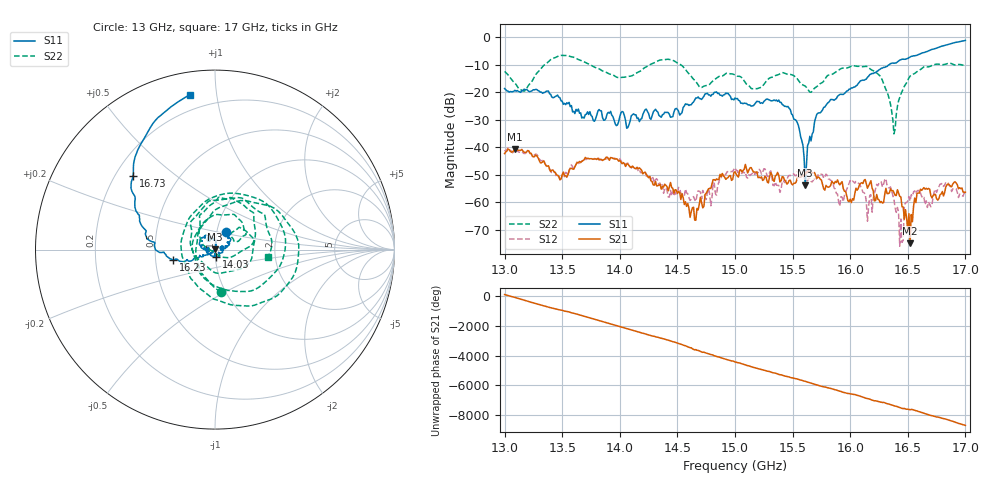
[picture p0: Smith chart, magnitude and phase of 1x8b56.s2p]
!Keysight Technologies,P9374A,MY57211807,A.19.30.04
!Date: Friday, May 08, 2026 14:29:41
!Correction: S11(C  2-Port  )
!S21(C  2-Port  )
!S12(C  2-Port  )
!S22(C  2-Port  )
!S2P File: Measurements: S11, S21, S12, S22:
# Hz S  dB  R 50
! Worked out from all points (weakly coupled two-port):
!   401 points, 13 GHz to 17 GHz, reference 50 ohm
!   highest |S21| = -40.63 dB at 13.09 GHz (marker M1); lowest = -74.9 dB at 16.52 GHz (marker M2)
!   lowest |S11| = -53.8 dB at 15.61 GHz (marker M3), VSWR 1.00, Z = 49.8 + j0.115 ohm
!   |S11| at or under -10 dB: start of sweep to 16.34 GHz
!   |S22| runs from -35.1 to -6.6 dB; largest |S21 - S12| = 0.0016
!   S11 on the Smith chart (normalised r, x): 13 GHz: 1.11, +0.22; 14.03 GHz: 1.01, -0.09; 16.23 GHz: 0.62, -0.07; 16.73 GHz: 0.27, +0.36; 17 GHz: 0.12, +0.84
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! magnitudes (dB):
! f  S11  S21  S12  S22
! 13 GHz  -18.7  -42.3  -41.5  -12.4
! 13.09 GHz  -19.3  -40.6  -40.9  -16.7
! 13.47 GHz  -21.8  -50.5  -50.6  -6.8
! 13.67 GHz  -29.4  -45.2  -45.0  -8.5
! 14.03 GHz  -27.3  -45.6  -45.5  -14.6
! 14.34 GHz  -28.4  -53.8  -53.9  -8.4
! 14.66 GHz  -22.1  -66.5  -59.7  -16.1
! 15 GHz  -22.1  -48.9  -47.4  -13.7
! 15.46 GHz  -25.2  -53.0  -50.6  -13.6
! 15.61 GHz  -53.8  -50.0  -52.2  -17.8
! 15.67 GHz  -35.2  -49.3  -52.6  -19.6
! 15.92 GHz  -20.7  -53.0  -58.0  -11.4
! 16 GHz  -18.9  -58.9  -52.1  -10.7
! 16.17 GHz  -13.6  -53.1  -57.5  -11.4
! 16.23 GHz  -12.4  -57.2  -53.5  -13.0
! 16.34 GHz  -10.0  -56.6  -54.8  -22.6
! 16.38 GHz  -9.5  -56.5  -59.0  -35.1
! 16.44 GHz  -8.2  -58.1  -66.1  -20.7
! 16.52 GHz  -7.2  -74.9  -59.5  -14.1
! 16.6 GHz  -6.2  -56.7  -56.8  -12.0
! 16.73 GHz  -4.2  -57.2  -56.0  -10.0
! 17 GHz  -1.2  -56.3  -56.4  -10.5
